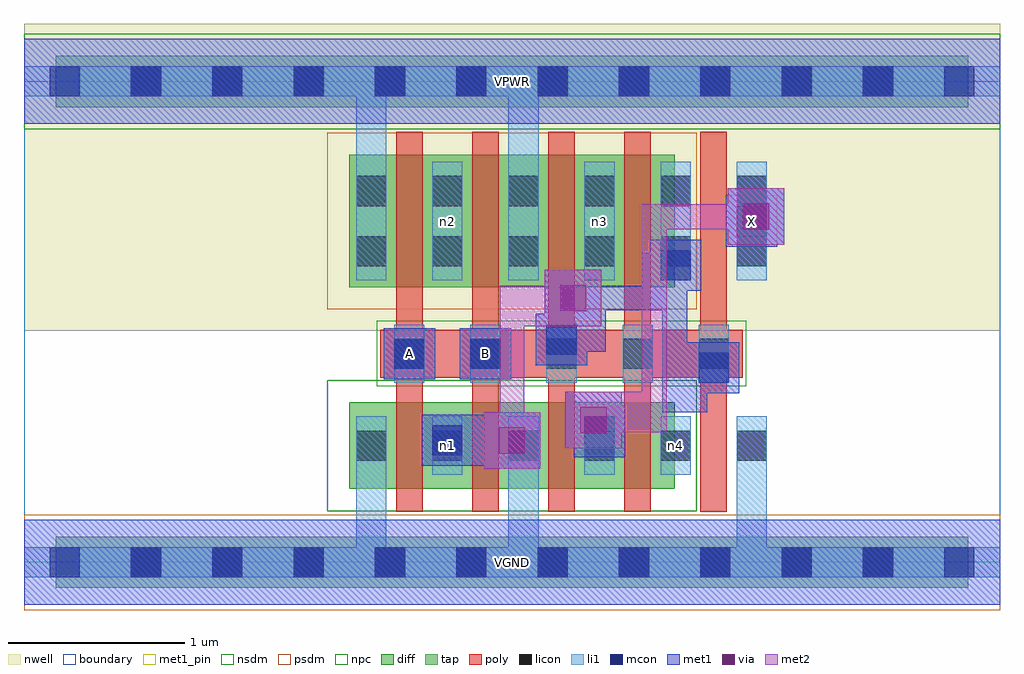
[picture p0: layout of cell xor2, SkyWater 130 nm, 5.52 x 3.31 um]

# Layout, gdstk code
import gdstk
lib = gdstk.Library(unit=1e-6, precision=1e-09)
def R(c, l, rs):  # rectangles x0, y0, x1, y1
    for r in rs: c.add(gdstk.rectangle(r[:2], r[2:], *l))
def A(c, l, x, y, w, h, nx, ny, dx, dy):  # array of equal rectangles
    R(c, l, [(x+i*dx, y+j*dy, x+i*dx+w, y+j*dy+h) for i in range(nx) for j in range(ny)])
nwell = (64, 20)
diff = (65, 20)
tap = (65, 44)
poly = (66, 20)
licon = (66, 44)
li1 = (67, 20)
mcon = (67, 44)
met1_pin = (68, 16)
met1 = (68, 20)
via = (68, 44)
met2 = (69, 20)
nsdm = (93, 44)
psdm = (94, 20)
npc = (95, 20)
boundary = (235, 4)

xor2 = lib.new_cell('xor2')
R(xor2, nwell, [(0,1.31,5.52,3.045)])
R(xor2, diff, [(1.84,0.415,3.68,0.905), (1.84,1.555,3.68,2.305)])
R(xor2, tap, [(0.18,-0.145,5.34,0.145), (0.18,2.575,5.34,2.865)])
R(xor2, poly, [(2.105,0.285,2.255,2.435), (2.105,0.285,2.255,2.435), (2.535,0.285,2.685,2.435), (2.535,0.285,2.685,2.435), (2.965,0.285,3.115,2.435), (2.965,0.285,3.115,2.435), (3.395,0.285,3.545,2.435), (3.395,0.285,3.545,2.435), (3.825,0.285,3.975,2.435), (3.825,0.285,3.975,2.435), (2.015,1.045,4.065,1.315)])
A(xor2, licon, 0.605, -0.085, 0.17, 0.17, 10, 2, 0.46, 2.72)
A(xor2, licon, 1.88, 0.575, 0.17, 0.17, 6, 2, 0.43, 1.1)
A(xor2, licon, 1.88, 2.015, 0.17, 0.17, 6, 1, 0.43, 0)
R(xor2, licon, [(2.095,1.095,2.265,1.265), (2.095,1.095,2.265,1.265), (2.525,1.095,2.695,1.265), (2.525,1.095,2.695,1.265), (2.955,1.095,3.125,1.265), (2.955,1.095,3.125,1.265), (3.385,1.095,3.555,1.265), (3.385,1.095,3.555,1.265), (3.815,1.095,3.985,1.265), (3.815,1.095,3.985,1.265)])
A(xor2, li1, 1.88, 0.495, 0.17, 0.33, 6, 1, 0.43, 0)
A(xor2, li1, 1.88, 1.595, 0.17, 0.67, 6, 1, 0.43, 0)
R(xor2, li1, [(0,-0.085,5.52,0.085), (1.88,-0.085,2.05,0.825), (2.74,-0.085,2.91,0.825), (4.03,-0.085,4.2,0.825), (2.095,1.015,2.265,1.345), (2.095,1.015,2.265,1.345), (2.525,1.015,2.695,1.345), (2.525,1.015,2.695,1.345), (2.955,1.015,3.125,1.345), (2.955,1.015,3.125,1.345), (3.385,1.015,3.555,1.345), (3.385,1.015,3.555,1.345), (3.815,1.015,3.985,1.345), (3.815,1.015,3.985,1.345), (1.88,1.595,2.05,2.805), (2.74,1.595,2.91,2.805), (0,2.635,5.52,2.805)])
A(xor2, mcon, 0.145, -0.085, 0.17, 0.17, 12, 2, 0.46, 2.72)
R(xor2, mcon, [(2.31,0.605,2.48,0.775), (3.17,0.655,3.34,0.825), (3.815,1.015,3.985,1.185), (2.095,1.095,2.265,1.265), (2.525,1.095,2.695,1.265), (2.955,1.175,3.125,1.345), (3.6,1.595,3.77,1.765), (4.03,1.845,4.2,2.015)])
R(xor2, met1_pin, [(0,-0.24,5.52,0.24), (2.035,1.035,2.325,1.325), (2.465,1.035,2.755,1.325), (3.97,1.785,4.26,2.075), (0,2.48,5.52,2.96)])
R(xor2, met1, [(0,-0.24,5.52,0.24), (2.6,0.53,2.92,0.85), (2.25,0.545,2.54,0.835), (2.54,0.545,2.6,0.835), (3.11,0.595,3.4,0.885), (2.325,0.62,2.6,0.76), (2.46,0.62,2.83,0.76), (3.06,0.645,3.38,0.965), (3.15,0.67,3.325,0.81), (3.15,0.67,3.29,0.875), (3.61,0.85,3.865,0.99), (3.61,0.85,3.75,1.565), (3.725,0.85,3.865,1.17), (3.75,0.955,3.755,1.245), (3.755,0.955,4.045,1.245), (3.725,1.03,3.97,1.17), (2.035,1.035,2.325,1.325), (2.465,1.035,2.755,1.325), (2.895,1.115,3.185,1.405), (2.97,1.19,3.29,1.33), (3.15,1.19,3.29,1.45), (3.15,1.31,3.29,1.565), (2.97,1.33,3.265,1.335), (3.035,1.33,3.29,1.425), (2.945,1.335,3.265,1.655), (3.035,1.425,3.29,1.565), (3.15,1.425,3.635,1.565), (3.495,1.425,3.635,1.75), (3.495,1.425,3.75,1.565), (3.54,1.535,3.83,1.825), (3.495,1.565,3.75,1.61), (3.495,1.61,3.755,1.75), (3.97,1.785,4.26,2.075), (3.98,1.795,4.3,2.115), (4.07,1.885,4.21,2.025), (0,2.48,5.52,2.96)])
R(xor2, via, [(2.685,0.615,2.835,0.765), (3.145,0.73,3.295,0.88), (3.03,1.42,3.18,1.57), (4.065,1.88,4.215,2.03)])
R(xor2, met2, [(2.6,0.53,2.92,0.85), (2.69,0.62,2.83,1.565), (3.06,0.645,3.38,0.965), (3.15,0.735,3.635,0.875), (3.38,0.735,3.495,0.965), (3.495,0.735,3.635,2.025), (2.83,1.335,2.945,1.565), (2.945,1.335,3.265,1.655), (2.69,1.425,3.175,1.565), (3.98,1.795,4.3,2.115), (3.495,1.885,4.21,2.025)])
R(xor2, nsdm, [(1.715,0.29,3.805,1.03), (0,2.45,5.52,2.99)])
R(xor2, psdm, [(0,-0.27,5.52,0.27), (1.715,1.43,3.805,2.43)])
R(xor2, npc, [(1.995,0.995,4.085,1.365)])
R(xor2, boundary, [(0,0,5.52,2.72)])
xor2.add(gdstk.Label('n1', (2.395,0.66), layer=67, texttype=5))
xor2.add(gdstk.Label('n4', (3.685,0.66), layer=67, texttype=5))
xor2.add(gdstk.Label('n2', (2.395,1.93), layer=67, texttype=5))
xor2.add(gdstk.Label('n3', (3.255,1.93), layer=67, texttype=5))
xor2.add(gdstk.Label('A', (2.18,1.18), layer=68, texttype=5))
xor2.add(gdstk.Label('B', (2.61,1.18), layer=68, texttype=5))
xor2.add(gdstk.Label('X', (4.115,1.93), layer=68, texttype=5))
xor2.add(gdstk.Label('VPWR', (2.76,2.72), layer=68, texttype=5))
xor2.add(gdstk.Label('VGND', (2.76,0), layer=68, texttype=5))
xor2.add(gdstk.Label('A', (2.18,1.18), layer=68, texttype=16))
xor2.add(gdstk.Label('B', (2.61,1.18), layer=68, texttype=16))
xor2.add(gdstk.Label('X', (4.115,1.93), layer=68, texttype=16))
xor2.add(gdstk.Label('VPWR', (2.76,2.72), layer=68, texttype=16))
xor2.add(gdstk.Label('VGND', (2.76,0), layer=68, texttype=16))

lib.write_gds('xor2.gds')
